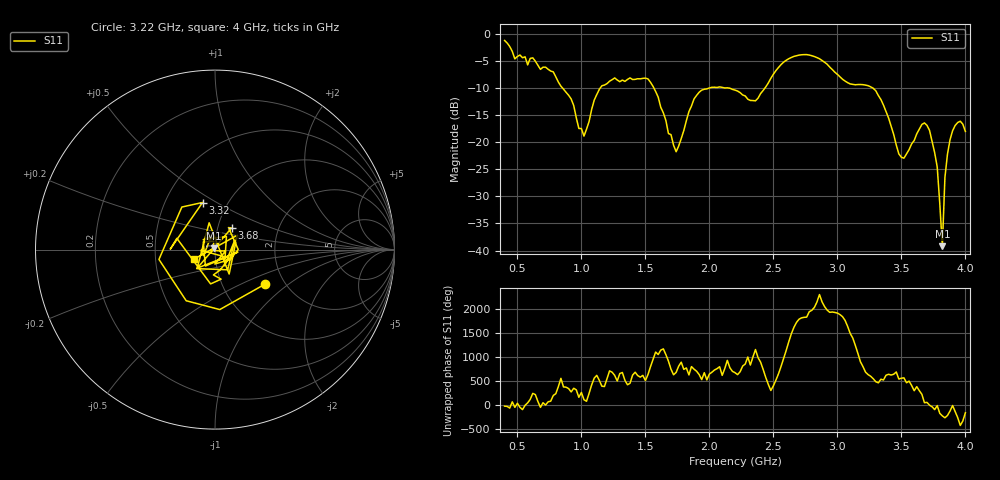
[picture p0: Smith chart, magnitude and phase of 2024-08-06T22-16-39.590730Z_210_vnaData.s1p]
!Created with skrf (http://scikit-rf.org).
# Hz S RI R 50.0
!freq ReS11 ImS11
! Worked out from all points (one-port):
!   181 points, 400 MHz to 4 GHz, reference 50 ohm
!   lowest |S11| = -39.2 dB at 3.82 GHz (marker M1), VSWR 1.02, Z = 49.2 + j0.717 ohm
!   |S11| at or under -10 dB: 855 MHz to 1.145 GHz (290.3 MHz wide, 29 % of centre); 1.568 GHz to 1.991 GHz (423 MHz wide, 23.8 % of centre); 3.281 GHz to end of sweep (the widest 3 of 4)
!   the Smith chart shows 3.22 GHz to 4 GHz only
!   S11 on the Smith chart (normalised r, x): 3.22 GHz: 1.59, -0.69; 3.32 GHz: 0.76, +0.43; 3.68 GHz: 1.17, +0.29; 4 GHz: 0.79, -0.08
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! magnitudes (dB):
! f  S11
! 400 MHz  -1.1
! 480 MHz  -4.5
! 620 MHz  -4.3
! 860 MHz  -10.1
! 1.02 GHz  -18.8
! 1.14 GHz  -10.2
! 1.3 GHz  -8.8
! 1.52 GHz  -8.2
! 1.74 GHz  -21.7
! 1.76 GHz  -20.7
! 1.92 GHz  -10.7
! 2.2 GHz  -10.3
! 2.36 GHz  -12.3
! 2.66 GHz  -4.1
! 2.86 GHz  -4.5
! 3.1 GHz  -9.2
! 3.22 GHz  -9.4
! 3.32 GHz  -11.3
! 3.48 GHz  -22.1
! 3.56 GHz  -21.3
! 3.68 GHz  -16.4
! 3.72 GHz  -17.8
! 3.78 GHz  -24.6
! 3.82 GHz  -39.2
! 3.84 GHz  -26.5
! 3.88 GHz  -19.5
! 3.94 GHz  -16.3
! 4 GHz  -18.0
